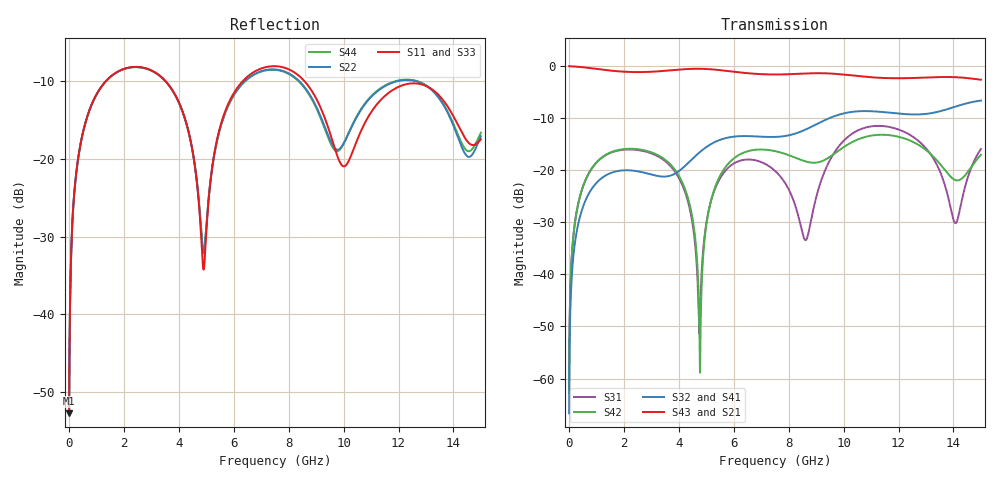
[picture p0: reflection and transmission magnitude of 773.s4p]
! Created with skrf 1.8.0 (http://scikit-rf.org).
# GHz S RI R 50.0
!freq ReS11 ImS11 ReS12 ImS12 ReS13 ImS13
! ReS14 ImS14
! ReS21 ImS21 ReS22 ImS22 ReS23 ImS23
! ReS24 ImS24
! ReS31 ImS31 ReS32 ImS32 ReS33 ImS33
! ReS34 ImS34
! ReS41 ImS41 ReS42 ImS42 ReS43 ImS43
! ReS44 ImS44
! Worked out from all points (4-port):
!   2499 points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, 5 MHz to 15 GHz, reference 50 ohm
!   strongest paths, dB at 5 MHz, 3.476 GHz, 7.19 GHz, 11.1 GHz, 15 GHz:
!     S43: 0.0, -0.9, -1.6, -2.2, -2.6
!     S21: 0.0, -0.9, -1.6, -2.2, -2.6
!     S32: -66.7, -21.2, -13.6, -8.7, -6.6
!     S41: -66.7, -21.2, -13.6, -8.7, -6.7
!     S42: -62.7, -17.9, -16.1, -13.3, -17.0
!     S31: -62.7, -18.1, -18.9, -11.5, -15.9
!   lowest |S11| = -52.8 dB at 5 MHz (marker M1), VSWR 1.00, Z = 50.2 + j0.139 ohm
!   |S11| at or under -10 dB: start of sweep to 1.335 GHz; 3.527 GHz to 6.319 GHz (2.792 GHz wide, 56.7 % of centre); 8.583 GHz to end of sweep
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0.005  0.00183 0.00139  0.9981 -0.00355  9.22e-05 0.000724  -8.96e-05 -0.000454
       0.9981 -0.00355  0.00183 0.00139  -8.96e-05 -0.000454  9.24e-05 0.000724
       9.22e-05 0.000724  -8.96e-05 -0.000454  0.00183 0.00139  0.9981 -0.00355
       -8.96e-05 -0.000454  9.24e-05 0.000724  0.9981 -0.00355  0.00183 0.00139
0.3126303  0.0289 0.0903  0.9605 -0.22  0.0132 0.0425  -0.0112 -0.0262
           0.9605 -0.22  0.0288 0.0903  -0.0112 -0.0262  0.0136 0.0424
           0.0132 0.0425  -0.0112 -0.0262  0.0289 0.0903  0.9605 -0.22
           -0.0112 -0.0262  0.0136 0.0424  0.9605 -0.22  0.0288 0.0903
1.469362  0.2876 0.1703  0.5122 -0.7497  0.1325 0.0595  -0.0928 0.000113
          0.5122 -0.7497  0.2861 0.1714  -0.0928 0.000126  0.1364 0.0538
          0.1325 0.0595  -0.0928 0.000126  0.2876 0.1703  0.5122 -0.7497
          -0.0928 0.000113  0.1364 0.0538  0.5122 -0.7497  0.2861 0.1714
4.770738  0.0222 -0.035  -0.9291 -0.1557  0.00289 0.00253  -0.0203 0.1483
          -0.9291 -0.1557  0.0277 -0.0335  -0.0202 0.1483  0.00111 -0.000267
          0.00289 0.00253  -0.0202 0.1483  0.0219 -0.0361  -0.929 -0.1561
          -0.0203 0.1483  0.00111 -0.000267  -0.929 -0.1561  0.0283 -0.0345
5.777407  0.14 0.1723  -0.7841 0.4343  0.0831 0.063  0.122 0.1652
          -0.7841 0.4343  0.1386 0.1672  0.1222 0.1652  0.1027 0.0486
          0.0831 0.063  0.1222 0.1652  0.1383 0.1712  -0.7848 0.434
          0.122 0.1652  0.1027 0.0486  -0.7848 0.434  0.1383 0.1654
9.885369  0.0865 -0.0365  0.8275 0.1042  0.0328 0.1743  0.04 -0.3425
          0.8275 0.1042  0.1172 0.0079  0.0389 -0.3427  -0.0638 0.1452
          0.0328 0.1743  0.0389 -0.3427  0.0867 -0.0319  0.8279 0.1021
          0.04 -0.3425  -0.0638 0.1452  0.8279 0.1021  0.1155 0.0125
15  0.133 0.0176  -0.7348 -0.0818  0.0591 0.1486  -0.0281 0.4639
    -0.7348 -0.0818  0.1277 0.0579  -0.0283 0.4655  -0.0091 0.1405
    0.0591 0.1486  -0.0283 0.4655  0.1235 0.0129  -0.735 -0.0813
    -0.0281 0.4639  -0.0091 0.1405  -0.735 -0.0813  0.1374 0.0543
